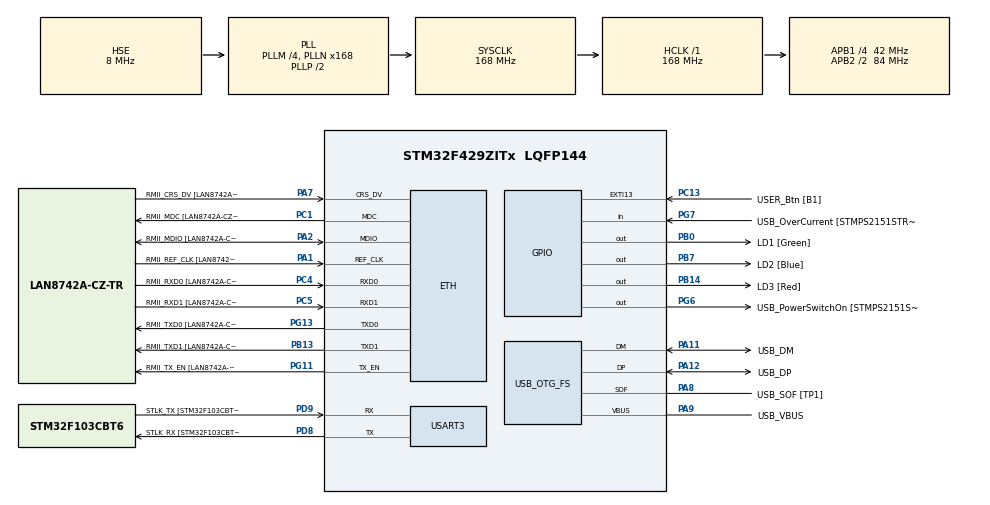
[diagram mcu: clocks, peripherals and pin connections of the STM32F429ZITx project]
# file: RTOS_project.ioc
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ETH.MediaInterface=HAL_ETH_RMII_MODE
ETH.PHY_Name=LAN8742A_PHY_ADDRESS
ETH.PHY_Value=0
ETH.PhyAddress=0
FREERTOS.Tasks01=defaultTask,24,128,StartDefaultTask,Default,NULL,Dynamic,NULL,NULL
Mcu.Family=STM32F4
Mcu.Name=STM32F429ZITx
Mcu.Package=LQFP144
NVIC.PriorityGroup=NVIC_PRIORITYGROUP_4
PA1.GPIO_Label=RMII_REF_CLK [LAN8742A-CZ-TR_REFCLK0]
PA1.Mode=RMII
PA1.Signal=ETH_REF_CLK
PA10.GPIO_Label=USB_ID
PA10.Signal=USB_OTG_FS_ID
PA11.GPIO_Label=USB_DM
PA11.Mode=Device_Only
PA11.Signal=USB_OTG_FS_DM
PA12.GPIO_Label=USB_DP
PA12.Mode=Device_Only
PA12.Signal=USB_OTG_FS_DP
PA13.GPIO_Label=TMS
PA13.Mode=Serial_Wire
PA13.Signal=SYS_JTMS-SWDIO
PA14.GPIO_Label=TCK
PA14.Mode=Serial_Wire
PA14.Signal=SYS_JTCK-SWCLK
PA2.GPIO_Label=RMII_MDIO [LAN8742A-CZ-TR_MDIO]
PA2.Mode=RMII
PA2.Signal=ETH_MDIO
PA7.GPIO_Label=RMII_CRS_DV [LAN8742A-CZ-TR_CRS_DV]
PA7.Mode=RMII
PA7.Signal=ETH_CRS_DV
PA8.GPIO_Label=USB_SOF [TP1]
PA8.Mode=Activate_SOF_FS
PA8.Signal=USB_OTG_FS_SOF
PA9.GPIO_Label=USB_VBUS
PA9.Mode=Activate_VBUS
PA9.Signal=USB_OTG_FS_VBUS
PB0.GPIO_Label=LD1 [Green]
PB0.Signal=GPIO_Output
PB13.GPIO_Label=RMII_TXD1 [LAN8742A-CZ-TR_TXD1]
PB13.Mode=RMII
PB13.Signal=ETH_TXD1
PB14.GPIO_Label=LD3 [Red]
PB14.Signal=GPIO_Output
PB7.GPIO_Label=LD2 [Blue]
PB7.Signal=GPIO_Output
PC1.GPIO_Label=RMII_MDC [LAN8742A-CZ-TR_MDC]
PC1.Mode=RMII
PC1.Signal=ETH_MDC
PC13.GPIO_Label=USER_Btn [B1]
PC13.Signal=GPXTI13
PC14/OSC32_IN.Mode=LSE-External-Oscillator
PC14/OSC32_IN.Signal=RCC_OSC32_IN
PC15/OSC32_OUT.Mode=LSE-External-Oscillator
PC15/OSC32_OUT.Signal=RCC_OSC32_OUT
PC4.GPIO_Label=RMII_RXD0 [LAN8742A-CZ-TR_RXD0]
PC4.Mode=RMII
PC4.Signal=ETH_RXD0
PC5.GPIO_Label=RMII_RXD1 [LAN8742A-CZ-TR_RXD1]
PC5.Mode=RMII
PC5.Signal=ETH_RXD1
PD8.GPIO_Label=STLK_RX [STM32F103CBT6_PA3]
PD8.Mode=Asynchronous
PD8.Signal=USART3_TX
PD9.GPIO_Label=STLK_TX [STM32F103CBT6_PA2]
PD9.Mode=Asynchronous
PD9.Signal=USART3_RX
PG11.GPIO_Label=RMII_TX_EN [LAN8742A-CZ-TR_TXEN]
PG11.Mode=RMII
PG11.Signal=ETH_TX_EN
PG13.GPIO_Label=RMII_TXD0 [LAN8742A-CZ-TR_TXD0]
PG13.Mode=RMII
PG13.Signal=ETH_TXD0
PG6.GPIO_Label=USB_PowerSwitchOn [STMPS2151STR_EN]
PG6.Signal=GPIO_Output
PG7.GPIO_Label=USB_OverCurrent [STMPS2151STR_FAULT]
PG7.Signal=GPIO_Input
PH0/OSC_IN.GPIO_Label=MCO [STM32F103CBT6_PA8]
PH0/OSC_IN.Mode=HSE-External-Clock-Source
PH0/OSC_IN.Signal=RCC_OSC_IN
PH1/OSC_OUT.Mode=HSE-External-Clock-Source
PH1/OSC_OUT.Signal=RCC_OSC_OUT
ProjectManager.HeapSize=0x200
ProjectManager.StackSize=0x400
ProjectManager.TargetToolchain=STM32CubeIDE
RCC.48MHZClocksFreq_Value=48000000
RCC.AHBFreq_Value=168000000
RCC.APB1CLKDivider=RCC_HCLK_DIV4
RCC.APB1Freq_Value=42000000
RCC.APB1TimFreq_Value=84000000
RCC.APB2CLKDivider=RCC_HCLK_DIV2
RCC.APB2Freq_Value=84000000
RCC.APB2TimCLKDivider=2
RCC.APB2TimFreq_Value=168000000
RCC.CortexFreq_Value=168000000
RCC.HCLKFreq_Value=168000000
RCC.HSE_VALUE=8000000
RCC.HSI_VALUE=16000000
RCC.PLLM=4
RCC.PLLMUL=RCC_PLL_MUL9
RCC.PLLN=168
RCC.PLLQ=7
RCC.PRESCALERUSB=RCC_USBCLKSOURCE_PLL_DIV1_5
RCC.SYSCLKFreq_VALUE=168000000
RCC.SYSCLKSource=RCC_SYSCLKSOURCE_PLLCLK
RCC.SYSCLKSourceVirtual=RCC_SYSCLKSOURCE_PLLCLK
RCC.USBFreq_Value=48000000
RCC.VCOOutputFreq_Value=336000000
USART3.VirtualMode=VM_ASYNC
USB_OTG_FS.VirtualMode=Device_Only
VP_FREERTOS_VS_CMSIS_V2.Mode=CMSIS_V2
board=NUCLEO-F429ZI

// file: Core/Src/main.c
/* USER CODE END Header */
#include "main.h"
#include "string.h"
#include "cmsis_os.h"

/* USER CODE BEGIN Includes */
#include <stdio.h>
#include <stdlib.h>
/* USER CODE END Includes */

/* USER CODE BEGIN PD */
#define ADXL345_ADDR            0x53
#define ADXL345_REG_POWER_CTL   0x2D
#define ADXL345_REG_DATAY0      0x34
/* USER CODE END PD */

ETH_TxPacketConfig TxConfig;
ETH_DMADescTypeDef  DMARxDscrTab[ETH_RX_DESC_CNT]; /* Ethernet Rx DMA Descriptors */
ETH_DMADescTypeDef  DMATxDscrTab[ETH_TX_DESC_CNT]; /* Ethernet Tx DMA Descriptors */

ETH_HandleTypeDef heth;

UART_HandleTypeDef huart3;

PCD_HandleTypeDef hpcd_USB_OTG_FS;

/* Definitions for defaultTask */
osThreadId_t defaultTaskHandle;
const osThreadAttr_t defaultTask_attributes = {
  .name = "defaultTask",
  .stack_size = 128 * 4,
  .priority = (osPriority_t) osPriorityNormal,
};
/* USER CODE BEGIN PV */
/* 레지스터 기반 구동을 위한 전역 변수 및 태스크 핸들 정의 */
volatile int16_t accel_y = 0;

osThreadId_t sensorTaskHandle;
osThreadId_t motorTaskHandle;

const osThreadAttr_t sensorTask_attributes = { .name = "sensorTask", .stack_size = 128 * 4, .priority = osPriorityNormal };
const osThreadAttr_t motorTask_attributes  = { .name = "motorTask",  .stack_size = 128 * 4, .priority = osPriorityNormal };
/* USER CODE END PV */

void SystemClock_Config(void);
static void MX_GPIO_Init(void);
static void MX_ETH_Init(void);
static void MX_USART3_UART_Init(void);
static void MX_USB_OTG_FS_PCD_Init(void);
void StartDefaultTask(void *argument);

/* USER CODE BEGIN PFP */
/* 노할(No HAL) 주변장치 및 센서 제어 함수 프로토타입 선언 */
void GPIO_Init_NoHal(void);
void I2C2_Init_NoHal(void);
void TIM1_Init_NoHal(void);
void UART3_Init_NoHal(void);

void I2C2_WriteRegister(uint8_t devAddr, uint8_t regAddr, uint8_t data);
void I2C2_ReadBurst(uint8_t devAddr, uint8_t regAddr, uint8_t *pData, uint8_t size);
void UART3_Send_Byte(char ch);
void UART3_Send_String(char* p);

void StartSensorTask(void *argument);
void StartMotorTask(void *argument);
/* USER CODE END PFP */

/* USER CODE BEGIN 0 */
/* printf 스트림 연동 코드 */
int _write(int file, char *ptr, int len)
{
  for (int i = 0; i < len; i++)
  {
      UART3_Send_Byte(ptr[i]);
  }
  return len;
}
/* USER CODE END 0 */

int main(void)
{

  /* MCU Configuration--------------------------------------------------------*/

  /* Reset of all peripherals, Initializes the Flash interface and the Systick. */
  HAL_Init();

  /* Configure the system clock */
  SystemClock_Config();

  /* Initialize all configured peripherals */
  MX_GPIO_Init();
  MX_ETH_Init();
  MX_USART3_UART_Init();
  MX_USB_OTG_FS_PCD_Init();
  /* USER CODE BEGIN 2 */
  /* 레지스터 하드웨어 및 레지스터 UART 초기화 실행 */
  GPIO_Init_NoHal();
  I2C2_Init_NoHal();
  TIM1_Init_NoHal();
  UART3_Init_NoHal();

  // ADXL345 센서 초기화 (Measure 모드 활성화)
  I2C2_WriteRegister(ADXL345_ADDR, ADXL345_REG_POWER_CTL, 0x08);

  // RTOS 진입 전 하드웨어 동작 유무 터미널 덤프 확인
  UART3_Send_String("\r\n=================================\r\n");
  UART3_Send_String("  UART3 Bare-Metal Clock 168MHz  \r\n");
  UART3_Send_String("=================================\r\n");
  printf("System Booted (No HAL RTOS Sync)\r\n");
  /* USER CODE END 2 */

  /* Init scheduler */
  osKernelInitialize();

  /* Create the thread(s) */
  /* creation of defaultTask */
  defaultTaskHandle = osThreadNew(StartDefaultTask, NULL, &defaultTask_attributes);

  /* USER CODE BEGIN RTOS_THREADS */
  /* 추가 요구 태스크 동적 등록 */
  sensorTaskHandle = osThreadNew(StartSensorTask, NULL, &sensorTask_attributes);
  motorTaskHandle = osThreadNew(StartMotorTask, NULL, &motorTask_attributes);
  /* USER CODE END RTOS_THREADS */

  /* Start scheduler */
  osKernelStart();

  /* We should never get here as control is now taken by the scheduler */

  /* Infinite loop */
  while (1)
  {

  }
}

void SystemClock_Config(void)
{
  RCC_OscInitTypeDef RCC_OscInitStruct = {0};
  RCC_ClkInitTypeDef RCC_ClkInitStruct = {0};

  /** Configure the main internal regulator output voltage
  */
  __HAL_RCC_PWR_CLK_ENABLE();
  __HAL_PWR_VOLTAGESCALING_CONFIG(PWR_REGULATOR_VOLTAGE_SCALE1);

  /** Initializes the RCC Oscillators according to the specified parameters
  * in the RCC_OscInitTypeDef structure.
  */
  RCC_OscInitStruct.OscillatorType = RCC_OSCILLATORTYPE_HSE;
  RCC_OscInitStruct.HSEState = RCC_HSE_BYPASS;
  RCC_OscInitStruct.PLL.PLLState = RCC_PLL_ON;
  RCC_OscInitStruct.PLL.PLLSource = RCC_PLLSOURCE_HSE;
  RCC_OscInitStruct.PLL.PLLM = 4;
  RCC_OscInitStruct.PLL.PLLN = 168;
  RCC_OscInitStruct.PLL.PLLP = RCC_PLLP_DIV2;
  RCC_OscInitStruct.PLL.PLLQ = 7;
  if (HAL_RCC_OscConfig(&RCC_OscInitStruct) != HAL_OK)
  {
    Error_Handler();
  }

  /** Initializes the CPU, AHB and APB buses clocks
  */
  RCC_ClkInitStruct.ClockType = RCC_CLOCKTYPE_HCLK|RCC_CLOCKTYPE_SYSCLK
                              |RCC_CLOCKTYPE_PCLK1|RCC_CLOCKTYPE_PCLK2;
  RCC_ClkInitStruct.SYSCLKSource = RCC_SYSCLKSOURCE_PLLCLK;
  RCC_ClkInitStruct.AHBCLKDivider = RCC_SYSCLK_DIV1;
  RCC_ClkInitStruct.APB1CLKDivider = RCC_HCLK_DIV4;
  RCC_ClkInitStruct.APB2CLKDivider = RCC_HCLK_DIV2;

  if (HAL_RCC_ClockConfig(&RCC_ClkInitStruct, FLASH_LATENCY_5) != HAL_OK)
  {
    Error_Handler();
  }
}

static void MX_ETH_Init(void)
{

   static uint8_t MACAddr[6];

  heth.Instance = ETH;
  MACAddr[0] = 0x00;
  MACAddr[1] = 0x80;
  MACAddr[2] = 0xE1;
  MACAddr[3] = 0x00;
  MACAddr[4] = 0x00;
  MACAddr[5] = 0x00;
  heth.Init.MACAddr = &MACAddr[0];
  heth.Init.MediaInterface = HAL_ETH_RMII_MODE;
  heth.Init.TxDesc = DMATxDscrTab;
  heth.Init.RxDesc = DMARxDscrTab;
  heth.Init.RxBuffLen = 1524;

  if (HAL_ETH_Init(&heth) != HAL_OK)
  {
    Error_Handler();
  }

  memset(&TxConfig, 0 , sizeof(ETH_TxPacketConfig));
  TxConfig.Attributes = ETH_TX_PACKETS_FEATURES_CSUM | ETH_TX_PACKETS_FEATURES_CRCPAD;
  TxConfig.ChecksumCtrl = ETH_CHECKSUM_IPHDR_PAYLOAD_INSERT_PHDR_CALC;
  TxConfig.CRCPadCtrl = ETH_CRC_PAD_INSERT;

}

static void MX_USART3_UART_Init(void)
{

  huart3.Instance = USART3;
  huart3.Init.BaudRate = 115200;
  huart3.Init.WordLength = UART_WORDLENGTH_8B;
  huart3.Init.StopBits = UART_STOPBITS_1;
  huart3.Init.Parity = UART_PARITY_NONE;
  huart3.Init.Mode = UART_MODE_TX_RX;
  huart3.Init.HwFlowCtl = UART_HWCONTROL_NONE;
  huart3.Init.OverSampling = UART_OVERSAMPLING_16;
  if (HAL_UART_Init(&huart3) != HAL_OK)
  {
    Error_Handler();
  }

}

static void MX_USB_OTG_FS_PCD_Init(void)
{

  hpcd_USB_OTG_FS.Instance = USB_OTG_FS;
  hpcd_USB_OTG_FS.Init.dev_endpoints = 4;
  hpcd_USB_OTG_FS.Init.speed = PCD_SPEED_FULL;
  hpcd_USB_OTG_FS.Init.dma_enable = DISABLE;
  hpcd_USB_OTG_FS.Init.phy_itface = PCD_PHY_EMBEDDED;
  hpcd_USB_OTG_FS.Init.Sof_enable = ENABLE;
  hpcd_USB_OTG_FS.Init.low_power_enable = DISABLE;
  hpcd_USB_OTG_FS.Init.lpm_enable = DISABLE;
  hpcd_USB_OTG_FS.Init.vbus_sensing_enable = ENABLE;
  hpcd_USB_OTG_FS.Init.use_dedicated_ep1 = DISABLE;
  if (HAL_PCD_Init(&hpcd_USB_OTG_FS) != HAL_OK)
  {
    Error_Handler();
  }

}

static void MX_GPIO_Init(void)
{
  GPIO_InitTypeDef GPIO_InitStruct = {0};

  /* GPIO Ports Clock Enable */
  __HAL_RCC_GPIOC_CLK_ENABLE();
  __HAL_RCC_GPIOH_CLK_ENABLE();
  __HAL_RCC_GPIOA_CLK_ENABLE();
  __HAL_RCC_GPIOB_CLK_ENABLE();
  __HAL_RCC_GPIOD_CLK_ENABLE();
  __HAL_RCC_GPIOG_CLK_ENABLE();

  /*Configure GPIO pin Output Level */
  HAL_GPIO_WritePin(GPIOB, LD1_Pin|LD3_Pin|LD2_Pin, GPIO_PIN_RESET);

  /*Configure GPIO pin Output Level */
  HAL_GPIO_WritePin(USB_PowerSwitchOn_GPIO_Port, USB_PowerSwitchOn_Pin, GPIO_PIN_RESET);

  /*Configure GPIO pin : USER_Btn_Pin */
  GPIO_InitStruct.Pin = USER_Btn_Pin;
  GPIO_InitStruct.Mode = GPIO_MODE_IT_RISING;
  GPIO_InitStruct.Pull = GPIO_NOPULL;
  HAL_GPIO_Init(USER_Btn_GPIO_Port, &GPIO_InitStruct);

  /*Configure GPIO pins : LD1_Pin LD3_Pin LD2_Pin */
  GPIO_InitStruct.Pin = LD1_Pin|LD3_Pin|LD2_Pin;
  GPIO_InitStruct.Mode = GPIO_MODE_OUTPUT_PP;
  GPIO_InitStruct.Pull = GPIO_NOPULL;
  GPIO_InitStruct.Speed = GPIO_SPEED_FREQ_LOW;
  HAL_GPIO_Init(GPIOB, &GPIO_InitStruct);

  /*Configure GPIO pin : USB_PowerSwitchOn_Pin */
  GPIO_InitStruct.Pin = USB_PowerSwitchOn_Pin;
  GPIO_InitStruct.Mode = GPIO_MODE_OUTPUT_PP;
  GPIO_InitStruct.Pull = GPIO_NOPULL;
  GPIO_InitStruct.Speed = GPIO_SPEED_FREQ_LOW;
  HAL_GPIO_Init(USB_PowerSwitchOn_GPIO_Port, &GPIO_InitStruct);

  /*Configure GPIO pin : USB_OverCurrent_Pin */
  GPIO_InitStruct.Pin = USB_OverCurrent_Pin;
  GPIO_InitStruct.Mode = GPIO_MODE_INPUT;
  GPIO_InitStruct.Pull = GPIO_NOPULL;
  HAL_GPIO_Init(USB_OverCurrent_GPIO_Port, &GPIO_InitStruct);

}

/* USER CODE BEGIN 4 */
/* ====================================================================
   노할(No HAL) 드라이버 함수 핵심 바디 세팅 구역
   ==================================================================== */

void UART3_Init_NoHal() {
    // 168MHz 분주비 매칭 보레이트 레지스터 삽입 (APB1 = 42MHz 기준 115200bps)
    USART3->CR1 &= ~(0x1 << 13); // 잠시 모듈 비활성화 후 세팅
    USART3->BRR = 0x16D;
    USART3->CR1 |= (0x1 << 13) | (0x3 << 2); // UE, TE, RE 설정 활성화
}

void UART3_Send_Byte(char ch) {
    if (ch == '\n') {
        while(!(USART3->SR & (1 << 7)));
        USART3->DR = '\r';
    }
    while(!(USART3->SR & (1 << 7)));
    USART3->DR = ch;
}

void UART3_Send_String(char* p) {
    while (*p) {
        UART3_Send_Byte(*p++);
    }
}

void GPIO_Init_NoHal(void) {
    // 1. RCC 레지스터에서 GPIOB, GPIOC, GPIOE 외에 [GPIOFEN(Port F)] 클록도 함께 활성화 (Bit 5)
    RCC->AHB1ENR |= RCC_AHB1ENR_GPIOBEN | RCC_AHB1ENR_GPIOCEN | RCC_AHB1ENR_GPIOEEN | RCC_AHB1ENR_GPIOFEN;

    // (기존 PC7 출력 설정은 유지하거나 지워도 상관없습니다. 여기서는 PF13을 새로 추가합니다.)
    // 2. PF13 핀을 범용 출력(General Purpose Output) 모드로 설정
    // MODER13 레지스터의 26, 27번 비트를 01(Output)로 세팅
    GPIOF->MODER &= ~(3 << (13 * 2));
    GPIOF->MODER |=  (1 << (13 * 2));

    // 기존 I2C2(PB10, PB11) 및 TIM1_CH1(PE9) 설정 유지
    GPIOB->MODER &= ~((3 << (10 * 2)) | (3 << (11 * 2))); GPIOB->MODER |= ((2 << (10 * 2)) | (2 << (11 * 2)));
    GPIOB->OTYPER |= (1 << 10) | (1 << 11); GPIOB->AFR[1] |= (4 << ((10 - 8) * 4)) | (4 << ((11 - 8) * 4));
    GPIOE->MODER &= ~(3 << (9 * 2)); GPIOE->MODER |= (2 << (9 * 2)); GPIOE->AFR[1] |= (1 << ((9 - 8) * 4));
}

void I2C2_Init_NoHal(void) {
    RCC->APB1ENR |= RCC_APB1ENR_I2C2EN;
    I2C2->CR1 |= I2C_CR1_SWRST;
    I2C2->CR1 &= ~I2C_CR1_SWRST;

    // 주신 클록트리 기준 APB1 = 42MHz 동기화 수식 반영
    I2C2->CR2 |= 42;
    I2C2->CCR |= 210;
    I2C2->TRISE |= 43;
    I2C2->CR1 |= I2C_CR1_PE;
}

void TIM1_Init_NoHal(void) {
    RCC->APB2ENR |= RCC_APB2ENR_TIM1EN;
    // 타이머 공급 소스 클록 (SYSCLK=168MHz 배수 매칭) 반영
    TIM1->PSC = 168 - 1;
    TIM1->ARR = 1000 - 1;
    TIM1->CCMR1 &= ~TIM_CCMR1_OC1M; TIM1->CCMR1 |= (6 << TIM_CCMR1_OC1M_Pos) | TIM_CCMR1_OC1PE;
    TIM1->CCER |= TIM_CCER_CC1E; TIM1->BDTR |= TIM_BDTR_MOE; TIM1->CR1 |= TIM_CR1_CEN;
}

void I2C2_WriteRegister(uint8_t devAddr, uint8_t regAddr, uint8_t data) {
    while(I2C2->SR2 & I2C_SR2_BUSY); I2C2->CR1 |= I2C_CR1_START; while(!(I2C2->SR1 & I2C_SR1_SB));
    I2C2->DR = (devAddr << 1); while(!(I2C2->SR1 & I2C_SR1_ADDR)); (void)I2C2->SR2;
    while(!(I2C2->SR1 & I2C_SR1_TXE)); I2C2->DR = regAddr; while(!(I2C2->SR1 & I2C_SR1_TXE));
    I2C2->DR = data; while(!(I2C2->SR1 & I2C_SR1_BTF)); I2C2->CR1 |= I2C_CR1_STOP;
}

void I2C2_ReadBurst(uint8_t devAddr, uint8_t regAddr, uint8_t *pData, uint8_t size) {
    while(I2C2->SR2 & I2C_SR2_BUSY); I2C2->CR1 |= I2C_CR1_START; while(!(I2C2->SR1 & I2C_SR1_SB));
    I2C2->DR = (devAddr << 1); while(!(I2C2->SR1 & I2C_SR1_ADDR)); (void)I2C2->SR2;
    while(!(I2C2->SR1 & I2C_SR1_TXE)); I2C2->DR = regAddr; while(!(I2C2->SR1 & I2C_SR1_BTF));
    I2C2->CR1 |= I2C_CR1_START; while(!(I2C2->SR1 & I2C_SR1_SB)); I2C2->DR = (devAddr << 1) | 0x01;
    while(!(I2C2->SR1 & I2C_SR1_ADDR)); (void)I2C2->SR2; I2C2->CR1 |= I2C_CR1_ACK;
    for(uint8_t i = 0; i < size; i++) {
        if(i == (size - 1)) { I2C2->CR1 &= ~I2C_CR1_ACK; I2C2->CR1 |= I2C_CR1_STOP; }
        while(!(I2C2->SR1 & I2C_SR1_RXNE)); pData[i] = I2C2->DR;
    }
}

void StartSensorTask(void *argument) {
    uint8_t buffer[2] = {0};
    for(;;) {
        I2C2_ReadBurst(ADXL345_ADDR, ADXL345_REG_DATAY0, buffer, 2);
        accel_y = (int16_t)((buffer[1] << 8) | buffer[0]);
        printf("Accel Y: %d\r\n", accel_y);
        osDelay(20);
    }
}

void StartMotorTask(void *argument) {
    const int16_t threshold = 30;
    for(;;) {
        int16_t current_y = accel_y;

        if (current_y > threshold) {
            // [정회전] IA = PWM, IB = LOW
            // PF13 핀을 LOW로 떨어뜨림 (BSRR의 상위 16비트는 BRx 역할: Reset)
            GPIOF->BSRR = (1 << (13 + 16));
            TIM1->CCR1 = 500; // Duty 50%
        }
        else if (current_y < -threshold) {
            // [역회전] IA = PWM, IB = HIGH
            // PF13 핀을 HIGH로 올림 (BSRR의 하위 16비트는 BSx 역할: Set)
            GPIOF->BSRR = (1 << 13);
            TIM1->CCR1 = 500; // Duty 50%
        }
        else {
            // [대기/정지] IA = LOW
            TIM1->CCR1 = 0;
        }
        osDelay(50);
    }
}
/* USER CODE END 4 */

void StartDefaultTask(void *argument)
{
  for(;;)
  {
    osDelay(1);
  }
}

void Error_Handler(void)
{
  __disable_irq();
  while (1)
  {
  }
}
